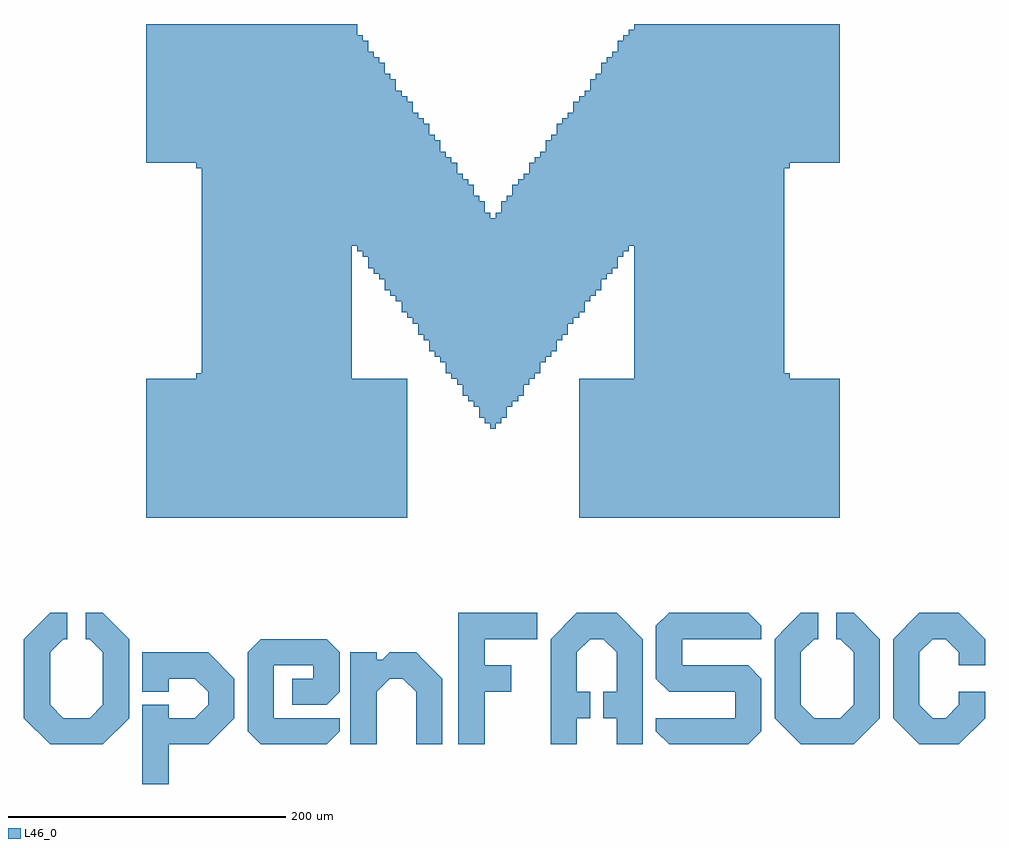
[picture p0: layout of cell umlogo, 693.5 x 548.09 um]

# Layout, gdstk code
import gdstk
lib = gdstk.Library(unit=1e-6, precision=1e-09)
def R(c, l, rs):  # rectangles x0, y0, x1, y1
    for r in rs: c.add(gdstk.rectangle(r[:2], r[2:], *l))
def P(c, l, *ps):  # polygons
    for p in ps: c.add(gdstk.Polygon(p, *l))
L46_0 = (46, 0)

umlogo = lib.new_cell('umlogo')
R(umlogo, L46_0, [(85.5,0,104.5,28.5), (19,28.5,57,47.5), (85.5,28.5,133,47.5), (171,28.5,218.5,38), (235.5,28.5,254.5,76), (283,28.5,302,76), (313.5,28.5,332.5,66.5), (380,28.5,399,47.5), (427.625,28.5,446.625,47.5), (465.5,28.5,522.5,38), (560.5,28.5,598.5,38), (646,28.5,674.5,47.5), (161.5,38,228,47.5), (456,38,532,47.5), (551,38,598.5,47.5), (0,47.5,19,104.5), (57,47.5,76,104.5), (85.5,47.5,104.5,57), (133,47.5,152,76), (161.5,47.5,180.5,85.5), (380,47.5,408.5,66.5), (418,47.5,446.625,66.5), (513,47.5,532,66.5), (541.5,47.5,560.5,104.5), (598.5,47.5,617.5,104.5), (627,47.5,646,104.5), (674.5,47.5,693.5,66.5), (193.8,57,218.5,66.5), (85.5,66.5,104.5,76), (193.8,66.5,228,76), (313.5,66.5,351.5,85.5), (380,66.5,399,104.5), (427.625,66.5,446.625,104.5), (465.5,66.5,532,76), (85.5,76,133,95), (209,76,228,85.5), (235.5,76,288.25,89.75), (456,76,522.5,85.5), (161.5,85.5,228,95), (313.5,85.5,332.5,104.5), (456,85.5,475,104.5), (674.5,85.5,693.5,104.5), (235.5,89.75,254.5,95), (264,89.75,283,95), (171,95,218.5,104.5), (19,104.5,31.35,123.5), (44.65,104.5,57,123.5), (313.5,104.5,370.5,123.5), (399,104.5,427.625,123.5), (456,104.5,532,114), (551,104.5,572.85,114), (586.15,104.5,598.5,123.5), (646,104.5,674.5,123.5), (465.5,114,522.5,123.5), (560.5,114,572.85,123.5), (88.5,192.085,276.5,292.085), (400.5,192.085,588.5,292.085), (336.5,256.085,340.5,260.085), (332.5,260.085,344.5,264.085), (328.5,264.085,348.5,272.085), (324.5,272.085,352.5,276.085), (320.5,276.085,356.5,280.085), (316.5,280.085,360.5,288.085), (312.5,288.085,364.5,292.085), (124.5,292.085,236.5,296.085), (308.5,292.085,368.5,296.085), (440.5,292.085,552.5,296.085), (128.5,296.085,236.5,388.085), (304.5,296.085,372.5,304.085), (440.5,296.085,548.5,388.085), (300.5,304.085,376.5,308.085), (296.5,308.085,380.5,312.085), (292.5,312.085,384.5,320.085), (288.5,320.085,388.5,324.085), (284.5,324.085,392.5,332.085), (280.5,332.085,396.5,336.085), (276.5,336.085,400.5,340.085), (272.5,340.085,404.5,348.085), (268.5,348.085,408.5,352.085), (264.5,352.085,412.5,356.085), (260.5,356.085,416.5,364.085), (256.5,364.085,420.5,368.085), (252.5,368.085,424.5,372.085), (248.5,372.085,428.5,380.085), (244.5,380.085,432.5,384.085), (240.5,384.085,436.5,388.085), (128.5,388.085,548.5,408.085), (128.5,408.085,336.5,412.085), (340.5,408.085,548.5,412.085), (128.5,412.085,332.5,420.085), (344.5,412.085,548.5,420.085), (128.5,420.085,328.5,424.085), (348.5,420.085,548.5,424.085), (128.5,424.085,324.5,432.085), (352.5,424.085,548.5,432.085), (128.5,432.085,320.5,436.085), (356.5,432.085,548.5,436.085), (128.5,436.085,316.5,440.085), (360.5,436.085,548.5,440.085), (128.5,440.085,312.5,444.085), (364.5,440.085,548.5,444.085), (124.5,444.085,312.5,448.085), (364.5,444.085,552.5,448.085), (88.5,448.085,308.5,452.085), (368.5,448.085,588.5,452.085), (88.5,452.085,304.5,456.085), (372.5,452.085,588.5,456.085), (88.5,456.085,300.5,464.085), (376.5,456.085,588.5,464.085), (88.5,464.085,296.5,468.085), (380.5,464.085,588.5,468.085), (88.5,468.085,292.5,476.085), (384.5,468.085,588.5,476.085), (88.5,476.085,288.5,480.085), (388.5,476.085,588.5,480.085), (88.5,480.085,284.5,484.085), (392.5,480.085,588.5,484.085), (88.5,484.085,280.5,492.085), (396.5,484.085,588.5,492.085), (88.5,492.085,276.5,496.085), (400.5,492.085,588.5,496.085), (88.5,496.085,272.5,500.085), (404.5,496.085,588.5,500.085), (88.5,500.085,268.5,508.085), (408.5,500.085,588.5,508.085), (88.5,508.085,264.5,512.085), (412.5,508.085,588.5,512.085), (88.5,512.085,260.5,520.085), (416.5,512.085,588.5,520.085), (88.5,520.085,256.5,524.085), (420.5,520.085,588.5,524.085), (88.5,524.085,252.5,528.085), (424.5,524.085,588.5,528.085), (88.5,528.085,248.5,536.085), (428.5,528.085,588.5,536.085), (88.5,536.085,244.5,540.085), (432.5,536.085,588.5,540.085), (88.5,540.085,240.5,548.085), (436.5,540.085,588.5,544.085), (440.5,544.085,588.5,548.085)])
P(umlogo, L46_0, [(0,104.5),(19,104.5),(19,123.5)],
  [(57,123.5),(57,104.5),(76,104.5)],
  [(380,104.5),(399,104.5),(399,123.5)],
  [(427.625,123.5),(427.625,104.5),(446.625,104.5)],
  [(19,95),(19,104.5),(28.5,104.5)],
  [(47.5,104.5),(57,104.5),(57,95)],
  [(19,57),(19,47.5),(28.5,47.5)],
  [(47.5,47.5),(57,47.5),(57,57)],
  [(161.5,95),(171,95),(171,104.5)],
  [(218.5,104.5),(218.5,95),(228,95)],
  [(133,95),(133,76),(152,76)],
  [(123.5,76),(133,76),(133,66.5)],
  [(0,47.5),(19,47.5),(19,28.5)],
  [(57,28.5),(57,47.5),(76,47.5)],
  [(123.5,47.5),(133,47.5),(133,57)],
  [(133,28.5),(133,47.5),(152,47.5)],
  [(218.5,57),(218.5,66.5),(228,66.5)],
  [(258.75,89.75),(264,89.75),(264,95)],
  [(283,95),(283,89.75),(288.25,89.75)],
  [(288.25,89.75),(288.25,76),(302,76)],
  [(161.5,38),(171,38),(171,28.5)],
  [(218.5,28.5),(218.5,38),(228,38)],
  [(254.5,66.5),(254.5,76),(264,76)],
  [(273.5,76),(283,76),(283,66.5)],
  [(399,95),(399,104.5),(408.5,104.5)],
  [(418.125,104.5),(427.625,104.5),(427.625,95)],
  [(456,114),(465.5,114),(465.5,123.5)],
  [(522.5,123.5),(522.5,114),(532,114)],
  [(551,114),(560.5,114),(560.5,123.5)],
  [(541.5,104.5),(551,104.5),(551,114)],
  [(598.5,123.5),(598.5,104.5),(617.5,104.5)],
  [(522.5,85.5),(522.5,76),(532,76)],
  [(456,76),(465.5,76),(465.5,66.5)],
  [(560.5,95),(560.5,104.5),(570,104.5)],
  [(589,104.5),(598.5,104.5),(598.5,95)],
  [(560.5,57),(560.5,47.5),(570,47.5)],
  [(589,47.5),(598.5,47.5),(598.5,57)],
  [(541.5,47.5),(551,47.5),(551,38)],
  [(456,38),(465.5,38),(465.5,28.5)],
  [(522.5,28.5),(522.5,38),(532,38)],
  [(551,38),(560.5,38),(560.5,28.5)],
  [(598.5,28.5),(598.5,47.5),(617.5,47.5)],
  [(627,104.5),(646,104.5),(646,123.5)],
  [(674.5,123.5),(674.5,104.5),(693.5,104.5)],
  [(646,95),(646,104.5),(655.5,104.5)],
  [(665,104.5),(674.5,104.5),(674.5,95)],
  [(646,57),(646,47.5),(655.5,47.5)],
  [(665,47.5),(674.5,47.5),(674.5,57)],
  [(627,47.5),(646,47.5),(646,28.5)],
  [(674.5,28.5),(674.5,47.5),(693.5,47.5)])

lib.write_gds('umlogo.gds')
